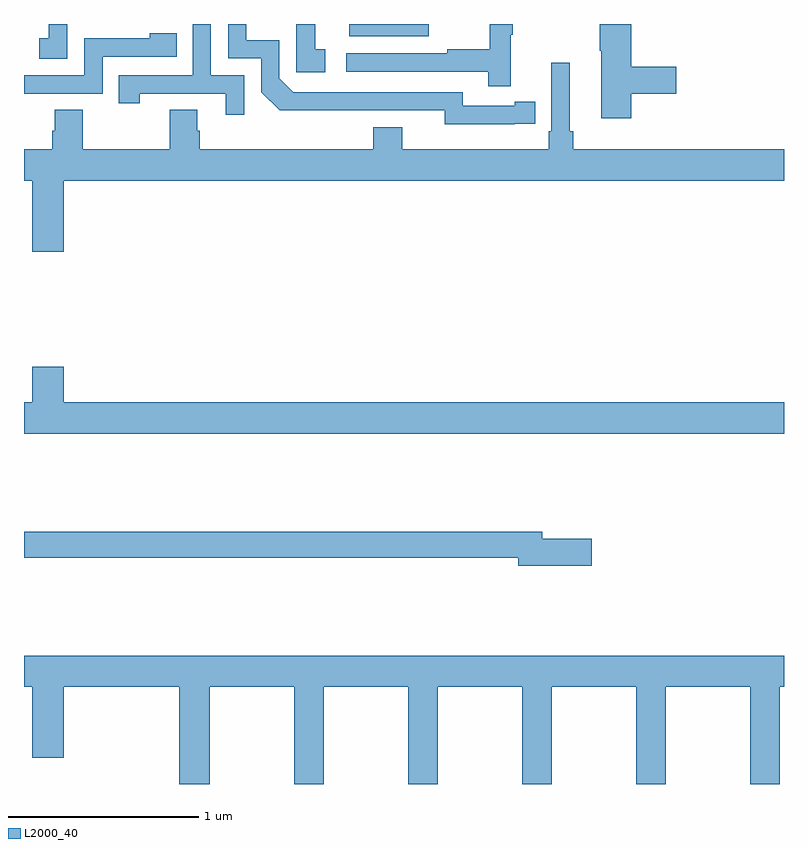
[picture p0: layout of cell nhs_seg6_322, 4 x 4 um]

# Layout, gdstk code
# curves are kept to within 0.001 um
import gdstk
lib = gdstk.Library(unit=1e-6, precision=1e-09)
def R(c, l, rs):  # rectangles x0, y0, x1, y1
    for r in rs: c.add(gdstk.rectangle(r[:2], r[2:], *l))
def P(c, l, *ps):  # polygons
    for p in ps: c.add(gdstk.Polygon(p, *l))
L2000_40 = (2000, 40)

nhs_seg6_322 = lib.new_cell('nhs_seg6_322')
R(nhs_seg6_322, L2000_40, [(130.712,941.435,131.131,941.5)])
P(nhs_seg6_322, L2000_40, [(130.585,941.367),(130.532,941.367),(130.532,941.5),(130.434,941.5),(130.434,941.247),(130.585,941.247)],
  [(132.197,941.134),(132.433,941.134),(132.433,941.276),(132.197,941.276),(132.197,941.5),(132.031,941.5),(132.031,941.359),(132.038,941.359),(132.038,941.004),(132.197,941.004)],
  [(129.228,941.5),(129.13,941.5),(129.13,941.425),(129.081,941.425),(129.081,941.316),(129.228,941.316)],
  [(130.158,941.229),(129.984,941.229),(129.984,941.5),(129.888,941.5),(129.888,941.229),(129.499,941.229),(129.499,941.082),(129.61,941.082),(129.61,941.133),(130.061,941.133),(130.061,941.022),(130.158,941.022)],
  [(131.561,941.443),(131.572,941.443),(131.572,941.5),(131.451,941.5),(131.451,941.366),(131.227,941.366),(131.227,941.346),(130.695,941.346),(130.695,941.25),(131.443,941.25),(131.443,941.172),(131.561,941.172)],
  [(131.582,940.974),(131.69,940.974),(131.69,941.09),(131.582,941.09),(131.582,941.07),(131.31,941.07),(131.31,941.142),(130.416,941.142),(130.344,941.214),(130.344,941.415),(130.171,941.415),(130.171,941.5),(130.074,941.5),(130.074,941.319),(130.248,941.319),(130.248,941.142),(130.346,941.045),(131.214,941.046),(131.214,940.973)],
  [(129.414,941.328),(129.803,941.328),(129.803,941.451),(129.663,941.451),(129.663,941.424),(129.318,941.424),(129.318,941.229),(129,941.229),(129,941.133),(129.414,941.133)],
  [(129.208,940.676),(133,940.676),(133,940.84),(131.891,940.84),(131.891,940.936),(131.872,940.936),(131.872,941.296),(131.775,941.296),(131.775,940.936),(131.762,940.936),(131.762,940.84),(130.99,940.84),(130.99,940.957),(130.838,940.957),(130.838,940.84),(129.926,940.84),(129.926,940.938),(129.913,940.938),(129.913,941.048),(129.766,941.048),(129.766,940.84),(129.309,940.84),(129.309,941.048),(129.161,941.048),(129.161,940.938),(129.149,940.938),(129.149,940.84),(129,940.84),(129,940.676),(129.044,940.676),(129.044,940.302),(129.208,940.302)],
  [(133,939.508),(129.208,939.508),(129.208,939.697),(129.044,939.697),(129.044,939.508),(129,939.508),(129,939.344),(133,939.344)],
  [(131.989,938.792),(131.728,938.792),(131.728,938.828),(129,938.828),(129,938.692),(131.6,938.692),(131.6,938.65),(131.989,938.65)],
  [(129,938.012),(129.044,938.012),(129.044,937.638),(129.208,937.638),(129.208,938.012),(129.818,938.012),(129.818,937.5),(129.977,937.5),(129.977,938.012),(130.423,938.012),(130.423,937.5),(130.578,937.5),(130.578,938.012),(131.023,938.012),(131.023,937.5),(131.178,937.5),(131.178,938.012),(131.623,938.012),(131.623,937.5),(131.778,937.5),(131.778,938.012),(132.223,938.012),(132.223,937.5),(132.378,937.5),(132.378,938.012),(132.823,938.012),(132.823,937.5),(132.978,937.5),(132.978,938.012),(133,938.012),(133,938.176),(129,938.176)])

lib.write_gds('nhs_seg6_322.gds')
